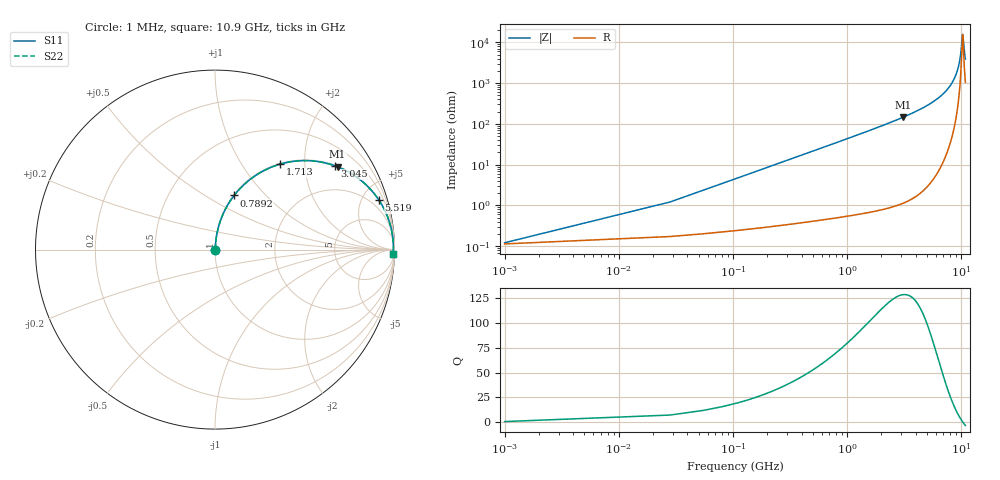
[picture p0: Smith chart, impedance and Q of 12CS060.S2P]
! Coilcraft 1206CS-060 Chip Inductor
! 29 July 2002
# MHZ S MA R 50
!Freq  MagS11  AngS11  MagS21  AngS21  MagS12  AngS12  MagS22  AngS22
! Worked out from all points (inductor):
!   402 points, 1 MHz to 10.9 GHz, reference 50 ohm
!   read as one part in series: L = 6.8 nH near 55.36 MHz
!   highest Q = 129 at 3.127 GHz (marker M1), where L = 7.49 nH
!   self-resonance near 10.3 GHz
!   S11 on the Smith chart (normalised r, x): 1 MHz: 1.00, +0.00; 789.2 MHz: 1.01, +0.68; 1.713 GHz: 1.01, +1.51; 3.045 GHz: 1.02, +2.85; 5.519 GHz: 1.08, +6.60; 10.9 GHz: 22, -75
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1  0.001213 20.6  0.9989 -0.0  0.9989 -0.0  0.001213 20.6
82.54  0.03524 84.3  0.9971 -2.0  0.9971 -2.0  0.03524 84.3
136.9  0.05831 84.1  0.9957 -3.3  0.9957 -3.3  0.05831 84.1
191.26  0.08129 83.3  0.9938 -4.7  0.9938 -4.7  0.08129 83.3
408.7  0.1717 78.9  0.9814 -9.9  0.9814 -9.9  0.1717 78.9
789.22  0.3198 70.5  0.9429 -18.7  0.9429 -18.7  0.3198 70.5
1196.92  0.4581 62.1  0.8837 -27.3  0.8837 -27.3  0.4581 62.1
1713.34  0.5987 52.7  0.7953 -36.8  0.7953 -36.8  0.5987 52.7
1822.06  0.6236 50.9  0.776 -38.6  0.776 -38.6  0.6236 50.9
3045.16  0.8156 34.9  0.5723 -54.6  0.5723 -54.6  0.8156 34.9
3126.7  0.824 34.1  0.5602 -55.5  0.5602 -55.5  0.824 34.1
3643.12  0.8687 29.2  0.4885 -60.3  0.4885 -60.3  0.8687 29.2
5464.18  0.9526 17.1  0.2936 -72.3  0.2936 -72.3  0.9526 17.1
5518.54  0.954 16.8  0.2889 -72.5  0.2889 -72.5  0.954 16.8
7285.24  0.9834 9.1  0.1585 -79.4  0.1585 -79.4  0.9834 9.1
8345.26  0.9907 5.5  0.09622 -81.7  0.09622 -81.7  0.9907 5.5
9106.3  0.9932 3.2  0.05671 -81.5  0.05671 -81.5  0.9932 3.2
9785.8  0.9939 1.4  0.02464 -74.9  0.02464 -74.9  0.9939 1.4
10302.22  0.9937 0.0  0.006366 -6.8  0.006366 -6.8  0.9937 0.0
10383.76  0.9936 -0.2  0.006982 23.4  0.006982 23.4  0.9936 -0.2
10655.56  0.9932 -0.8  0.01589 64.3  0.01589 64.3  0.9932 -0.8
10900  0.9928 -1.4  0.02559 72.9  0.02559 72.9  0.9928 -1.4
